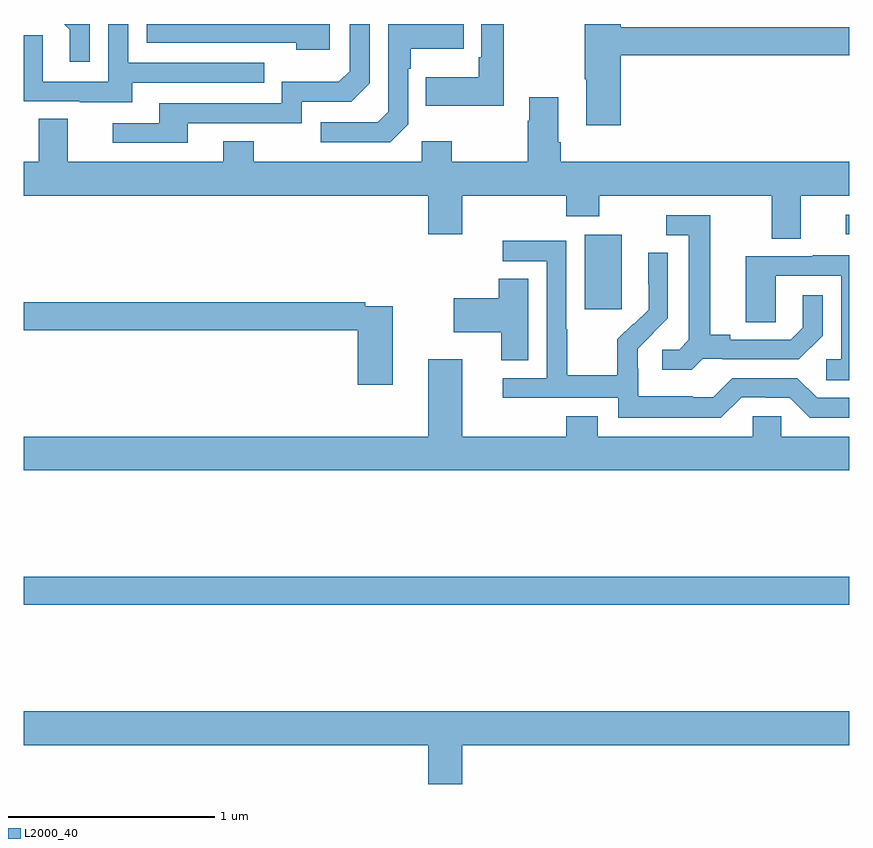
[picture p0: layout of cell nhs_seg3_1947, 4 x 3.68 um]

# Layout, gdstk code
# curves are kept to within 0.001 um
import gdstk
lib = gdstk.Library(unit=1e-6, precision=1e-09)
def R(c, l, rs):  # rectangles x0, y0, x1, y1
    for r in rs: c.add(gdstk.rectangle(r[:2], r[2:], *l))
def P(c, l, *ps):  # polygons
    for p in ps: c.add(gdstk.Polygon(p, *l))
L2000_40 = (2000, 40)

nhs_seg3_1947 = lib.new_cell('nhs_seg3_1947')
R(nhs_seg3_1947, L2000_40, [(211,713.584,215,713.72), (213.719,715.017,213.898,715.378), (214.983,715.38,215,715.476)])
P(nhs_seg3_1947, L2000_40, [(213.893,716.248),(215,716.248),(215,716.384),(213.893,716.384),(213.893,716.4),(213.718,716.4),(213.718,716.131),(213.725,716.131),(213.725,715.908),(213.893,715.908)],
  [(211.795,715.92),(212.346,715.92),(212.346,716.022),(212.586,716.022),(212.676,716.112),(212.676,716.4),(212.58,716.4),(212.58,716.172),(212.527,716.119),(212.25,716.119),(212.25,716.016),(211.655,716.016),(211.655,715.92),(211.431,715.92),(211.431,715.824),(211.795,715.824)],
  [(211.32,716.4),(211.196,716.4),(211.223,716.373),(211.223,716.217),(211.32,716.217)],
  [(213.325,716.4),(213.216,716.4),(213.216,716.239),(213.204,716.239),(213.204,716.143),(212.947,716.143),(212.947,716.003),(213.325,716.003)],
  [(211.525,716.115),(212.165,716.115),(212.165,716.211),(211.506,716.211),(211.506,716.4),(211.41,716.4),(211.41,716.121),(211.092,716.121),(211.092,716.345),(211,716.345),(211,716.025),(211.271,716.025),(211.271,716.021),(211.525,716.021)],
  [(212.482,716.4),(211.596,716.4),(211.596,716.31),(212.321,716.31),(212.321,716.276),(212.482,716.276)],
  [(212.862,715.914),(212.862,716.183),(212.875,716.183),(212.875,716.279),(213.131,716.279),(213.131,716.4),(212.766,716.4),(212.766,715.974),(212.715,715.923),(212.439,715.923),(212.439,715.827),(212.775,715.827)],
  [(214.765,715.568),(215,715.568),(215,715.732),(213.602,715.732),(213.602,715.828),(213.589,715.828),(213.589,716.044),(213.449,716.044),(213.449,715.931),(213.442,715.931),(213.442,715.732),(213.075,715.732),(213.075,715.831),(212.928,715.831),(212.928,715.732),(212.115,715.732),(212.115,715.831),(211.967,715.831),(211.967,715.732),(211.213,715.732),(211.213,715.94),(211.073,715.94),(211.073,715.732),(211,715.732),(211,715.568),(212.96,715.568),(212.96,715.38),(213.124,715.38),(213.124,715.568),(213.629,715.568),(213.629,715.469),(213.789,715.469),(213.789,715.568),(214.625,715.568),(214.625,715.36),(214.765,715.36)],
  [(214.29,714.777),(214.384,714.777),(214.384,714.774),(214.756,714.774),(214.872,714.89),(214.872,715.084),(214.775,715.084),(214.775,714.927),(214.718,714.87),(214.423,714.87),(214.423,714.893),(214.327,714.893),(214.327,715.473),(214.113,715.473),(214.113,715.377),(214.223,715.377),(214.223,714.869),(214.176,714.822),(214.095,714.822),(214.095,714.725),(214.238,714.725)],
  [(214.479,714.591),(214.595,714.591),(214.595,714.588),(214.713,714.588),(214.809,714.492),(215,714.492),(215,714.588),(214.845,714.588),(214.749,714.684),(214.434,714.684),(214.341,714.591),(214.241,714.591),(214.241,714.595),(213.978,714.595),(213.978,714.729),(213.976,714.729),(213.976,714.826),(214.122,714.974),(214.122,715.292),(214.026,715.292),(214.026,715.138),(214.028,715.138),(214.028,715.016),(213.957,714.945),(213.954,714.948),(213.877,714.871),(213.877,714.697),(213.633,714.697),(213.633,714.92),(213.63,714.92),(213.63,715.35),(213.321,715.35),(213.321,715.251),(213.534,715.251),(213.534,714.684),(213.321,714.684),(213.321,714.588),(213.882,714.588),(213.882,714.491),(214.379,714.491)],
  [(215,715.279),(214.823,715.279),(214.823,715.275),(214.499,715.275),(214.499,714.955),(214.644,714.955),(214.644,715.179),(214.962,715.179),(214.962,714.774),(214.89,714.774),(214.89,714.673),(215,714.673)],
  [(213.445,715.166),(213.302,715.166),(213.302,715.071),(213.084,715.071),(213.084,714.905),(213.314,714.905),(213.314,714.769),(213.445,714.769)],
  [(212.788,715.032),(212.654,715.032),(212.654,715.052),(211,715.052),(211,714.916),(212.618,714.916),(212.618,714.651),(212.788,714.651)],
  [(215,714.4),(214.671,714.4),(214.671,714.498),(214.533,714.498),(214.533,714.4),(213.781,714.4),(213.781,714.499),(213.629,714.499),(213.629,714.4),(213.124,714.4),(213.124,714.775),(212.96,714.775),(212.96,714.4),(211,714.4),(211,714.236),(215,714.236)],
  [(213.124,712.904),(215,712.904),(215,713.068),(211,713.068),(211,712.904),(212.96,712.904),(212.96,712.716),(213.124,712.716)])

lib.write_gds('nhs_seg3_1947.gds')
